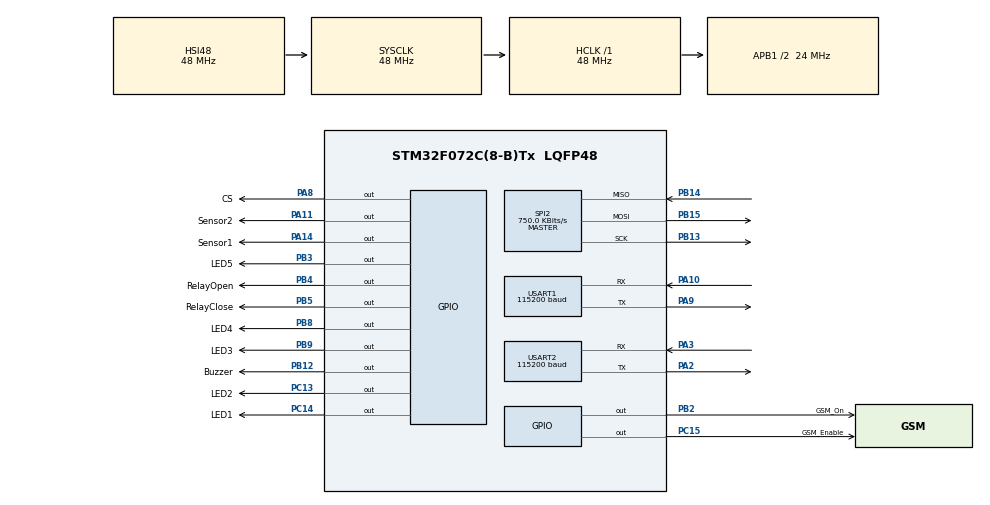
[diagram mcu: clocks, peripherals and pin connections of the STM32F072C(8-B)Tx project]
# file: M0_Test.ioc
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FREERTOS.Tasks01=defaultTask,0,256,StartDefaultTask,Default,NULL,Dynamic,NULL,NULL;myTask02,-3,128,StartTask02,Default,NULL,Dynamic,NULL,NULL
Mcu.Family=STM32F0
Mcu.Name=STM32F072C(8-B)Tx
Mcu.Package=LQFP48
NVIC.USART2_IRQn=true\:3\:0\:false\:false\:true\:true\:true\:true
PA10.Mode=Asynchronous
PA10.Signal=USART1_RX
PA11.GPIO_Label=Sensor2
PA11.Signal=GPIO_Output
PA14.GPIO_Label=Sensor1
PA14.Signal=GPIO_Output
PA2.Mode=Asynchronous
PA2.Signal=USART2_TX
PA3.GPIO_PuPd=GPIO_PULLUP
PA3.Mode=Asynchronous
PA3.Signal=USART2_RX
PA8.GPIO_Label=CS
PA8.Signal=GPIO_Output
PA9.Mode=Asynchronous
PA9.Signal=USART1_TX
PB12.GPIO_Label=Buzzer
PB12.Signal=GPIO_Output
PB13.Mode=Full_Duplex_Master
PB13.Signal=SPI2_SCK
PB14.Mode=Full_Duplex_Master
PB14.Signal=SPI2_MISO
PB15.Mode=Full_Duplex_Master
PB15.Signal=SPI2_MOSI
PB2.GPIO_Label=GSM_On
PB2.Signal=GPIO_Output
PB3.GPIO_Label=LED5
PB3.Signal=GPIO_Output
PB4.GPIO_Label=RelayOpen
PB4.Signal=GPIO_Output
PB5.GPIO_Label=RelayClose
PB5.Signal=GPIO_Output
PB8.GPIO_Label=LED4
PB8.Signal=GPIO_Output
PB9.GPIO_Label=LED3
PB9.Signal=GPIO_Output
PC13.GPIO_Label=LED2
PC13.Signal=GPIO_Output
PC14-OSC32_IN.GPIO_Label=LED1
PC14-OSC32_IN.Signal=GPIO_Output
PC15-OSC32_OUT.GPIO_Label=GSM_Enable
PC15-OSC32_OUT.Signal=GPIO_Output
ProjectManager.HeapSize=0x200
ProjectManager.StackSize=0x400
ProjectManager.TargetToolchain=STM32CubeIDE
RCC.AHBFreq_Value=48000000
RCC.APB1CLKDivider=RCC_HCLK_DIV2
RCC.APB1Freq_Value=24000000
RCC.APB1TimFreq_Value=48000000
RCC.HCLKFreq_Value=48000000
RCC.SYSCLKFreq_VALUE=48000000
RCC.SYSCLKSource=RCC_SYSCLKSOURCE_HSI48
SPI2.BaudRatePrescaler=SPI_BAUDRATEPRESCALER_32
SPI2.CalculateBaudRate=750.0 KBits/s
SPI2.DataSize=SPI_DATASIZE_8BIT
SPI2.Direction=SPI_DIRECTION_2LINES
SPI2.Mode=SPI_MODE_MASTER
SPI2.VirtualType=VM_MASTER
USART1.BaudRate=115200
USART1.VirtualMode-Asynchronous=VM_ASYNC
USART2.BaudRate=115200
USART2.VirtualMode-Asynchronous=VM_ASYNC
VP_FREERTOS_VS_CMSIS_V1.Mode=CMSIS_V1
VP_WWDG_VS_WWDG.Mode=WWDG_Activate
WWDG.Counter=127
WWDG.Prescaler=WWDG_PRESCALER_8
board=custom

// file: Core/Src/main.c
/* USER CODE BEGIN Header */
/**
  ******************************************************************************
  * @file           : main.c
  * @brief          : Main program body
  ******************************************************************************
  * @attention
  *
  * <h2><center>&copy; Copyright (c) 2022 STMicroelectronics.
  * All rights reserved.</center></h2>
  *
  * This software component is licensed by ST under BSD 3-Clause license,
  * the "License"; You may not use this file except in compliance with the
  * License. You may obtain a copy of the License at:
  *                        opensource.org/licenses/BSD-3-Clause
  *
  ******************************************************************************
  */
/* USER CODE END Header */
#include "main.h"
#include "cmsis_os.h"

/* USER CODE BEGIN Includes */
//#include "usbd_cdc_if.h"
/* USER CODE END Includes */

/* USER CODE BEGIN PD */
#define M95_WRITE_EN 	0x06
#define M95_WRITE_DIS 	0x04
#define M95_STATUS 		0x05
#define M95_READ 		0x03
//#define M95_READ 		0x0B
#define M95_WRITE 		0x02
/* USER CODE END PD */

SPI_HandleTypeDef hspi2;

UART_HandleTypeDef huart1;
UART_HandleTypeDef huart2;

WWDG_HandleTypeDef hwwdg;

osThreadId defaultTaskHandle;
osThreadId myTask02Handle;

void SystemClock_Config(void);
static void MX_GPIO_Init(void);
static void MX_SPI2_Init(void);
static void MX_USART1_UART_Init(void);
static void MX_USART2_UART_Init(void);
static void MX_WWDG_Init(void);
void StartDefaultTask(void const * argument);
void StartTask02(void const * argument);

/* USER CODE BEGIN 0 */
char USB_Send[] = "Hello USB";
extern int mqttSend;
/* USER CODE END 0 */

int main(void)
{
  /* USER CODE BEGIN 1 */
	remap();
  /* USER CODE END 1 */

  /* MCU Configuration--------------------------------------------------------*/

  /* Reset of all peripherals, Initializes the Flash interface and the Systick. */
  HAL_Init();

  /* Configure the system clock */
  SystemClock_Config();

  /* Initialize all configured peripherals */
  MX_GPIO_Init();
  MX_SPI2_Init();
  MX_USART1_UART_Init();
  MX_USART2_UART_Init();
  MX_WWDG_Init();
  /* USER CODE BEGIN 2 */
  HAL_GPIO_WritePin(CS_GPIO_Port, CS_Pin,GPIO_PIN_SET);
  //MQTT_Init();
  GSM_Init();
  //Wifi_Init();
  HAL_GPIO_WritePin(LED1_GPIO_Port, LED1_Pin,GPIO_PIN_SET);		//wifi enable
  HAL_GPIO_WritePin(LED4_GPIO_Port, LED4_Pin,GPIO_PIN_SET);
  HAL_GPIO_WritePin(LED5_GPIO_Port, LED5_Pin,GPIO_PIN_SET);

  //HAL_Delay(2000);
  /* USER CODE END 2 */

  /* Create the thread(s) */
  /* definition and creation of defaultTask */
  osThreadDef(defaultTask, StartDefaultTask, osPriorityNormal, 0, 256);
  defaultTaskHandle = osThreadCreate(osThread(defaultTask), NULL);

  /* definition and creation of myTask02 */
  osThreadDef(myTask02, StartTask02, osPriorityIdle, 0, 128);
  myTask02Handle = osThreadCreate(osThread(myTask02), NULL);

  /* Start scheduler */
  osKernelStart();

  /* We should never get here as control is now taken by the scheduler */
  /* Infinite loop */
  while (1)
  {

  }
}

void SystemClock_Config(void)
{
  RCC_OscInitTypeDef RCC_OscInitStruct = {0};
  RCC_ClkInitTypeDef RCC_ClkInitStruct = {0};
  RCC_PeriphCLKInitTypeDef PeriphClkInit = {0};

  /** Initializes the RCC Oscillators according to the specified parameters
  * in the RCC_OscInitTypeDef structure.
  */
  RCC_OscInitStruct.OscillatorType = RCC_OSCILLATORTYPE_HSI48;
  RCC_OscInitStruct.HSI48State = RCC_HSI48_ON;
  RCC_OscInitStruct.PLL.PLLState = RCC_PLL_NONE;
  if (HAL_RCC_OscConfig(&RCC_OscInitStruct) != HAL_OK)
  {
    Error_Handler();
  }
  /** Initializes the CPU, AHB and APB buses clocks
  */
  RCC_ClkInitStruct.ClockType = RCC_CLOCKTYPE_HCLK|RCC_CLOCKTYPE_SYSCLK
                              |RCC_CLOCKTYPE_PCLK1;
  RCC_ClkInitStruct.SYSCLKSource = RCC_SYSCLKSOURCE_HSI48;
  RCC_ClkInitStruct.AHBCLKDivider = RCC_SYSCLK_DIV1;
  RCC_ClkInitStruct.APB1CLKDivider = RCC_HCLK_DIV2;

  if (HAL_RCC_ClockConfig(&RCC_ClkInitStruct, FLASH_LATENCY_1) != HAL_OK)
  {
    Error_Handler();
  }
  PeriphClkInit.PeriphClockSelection = RCC_PERIPHCLK_USART1|RCC_PERIPHCLK_USART2;
  PeriphClkInit.Usart1ClockSelection = RCC_USART1CLKSOURCE_PCLK1;
  PeriphClkInit.Usart2ClockSelection = RCC_USART2CLKSOURCE_PCLK1;
  if (HAL_RCCEx_PeriphCLKConfig(&PeriphClkInit) != HAL_OK)
  {
    Error_Handler();
  }
}

static void MX_SPI2_Init(void)
{

  /* SPI2 parameter configuration*/
  hspi2.Instance = SPI2;
  hspi2.Init.Mode = SPI_MODE_MASTER;
  hspi2.Init.Direction = SPI_DIRECTION_2LINES;
  hspi2.Init.DataSize = SPI_DATASIZE_8BIT;
  hspi2.Init.CLKPolarity = SPI_POLARITY_LOW;
  hspi2.Init.CLKPhase = SPI_PHASE_1EDGE;
  hspi2.Init.NSS = SPI_NSS_SOFT;
  hspi2.Init.BaudRatePrescaler = SPI_BAUDRATEPRESCALER_32;
  hspi2.Init.FirstBit = SPI_FIRSTBIT_MSB;
  hspi2.Init.TIMode = SPI_TIMODE_DISABLE;
  hspi2.Init.CRCCalculation = SPI_CRCCALCULATION_DISABLE;
  hspi2.Init.CRCPolynomial = 7;
  hspi2.Init.CRCLength = SPI_CRC_LENGTH_DATASIZE;
  hspi2.Init.NSSPMode = SPI_NSS_PULSE_ENABLE;
  if (HAL_SPI_Init(&hspi2) != HAL_OK)
  {
    Error_Handler();
  }

}

static void MX_USART1_UART_Init(void)
{

  huart1.Instance = USART1;
  huart1.Init.BaudRate = 115200;
  huart1.Init.WordLength = UART_WORDLENGTH_8B;
  huart1.Init.StopBits = UART_STOPBITS_1;
  huart1.Init.Parity = UART_PARITY_NONE;
  huart1.Init.Mode = UART_MODE_TX_RX;
  huart1.Init.HwFlowCtl = UART_HWCONTROL_NONE;
  huart1.Init.OverSampling = UART_OVERSAMPLING_16;
  huart1.Init.OneBitSampling = UART_ONE_BIT_SAMPLE_DISABLE;
  huart1.AdvancedInit.AdvFeatureInit = UART_ADVFEATURE_NO_INIT;
  if (HAL_UART_Init(&huart1) != HAL_OK)
  {
    Error_Handler();
  }

}

static void MX_USART2_UART_Init(void)
{

  /* USER CODE BEGIN USART2_Init 0 */
	//if (huart->Instance == USART2) GSM_Receive((uint8_t)(uhdata & (uint8_t)uhMask));
	//if (huart->Instance == USART1) Debug_Receive((uint8_t)(uhdata & (uint8_t)uhMask));

  /* USER CODE END USART2_Init 0 */

  huart2.Instance = USART2;
  huart2.Init.BaudRate = 115200;
  huart2.Init.WordLength = UART_WORDLENGTH_8B;
  huart2.Init.StopBits = UART_STOPBITS_1;
  huart2.Init.Parity = UART_PARITY_NONE;
  huart2.Init.Mode = UART_MODE_TX_RX;
  huart2.Init.HwFlowCtl = UART_HWCONTROL_NONE;
  huart2.Init.OverSampling = UART_OVERSAMPLING_16;
  huart2.Init.OneBitSampling = UART_ONE_BIT_SAMPLE_DISABLE;
  huart2.AdvancedInit.AdvFeatureInit = UART_ADVFEATURE_NO_INIT;
  if (HAL_UART_Init(&huart2) != HAL_OK)
  {
    Error_Handler();
  }

}

static void MX_WWDG_Init(void)
{

  hwwdg.Instance = WWDG;
  hwwdg.Init.Prescaler = WWDG_PRESCALER_8;
  hwwdg.Init.Window = 126;
  hwwdg.Init.Counter = 127;
  hwwdg.Init.EWIMode = WWDG_EWI_DISABLE;
  if (HAL_WWDG_Init(&hwwdg) != HAL_OK)
  {
    Error_Handler();
  }

}

static void MX_GPIO_Init(void)
{
  GPIO_InitTypeDef GPIO_InitStruct = {0};

  /* GPIO Ports Clock Enable */
  __HAL_RCC_GPIOC_CLK_ENABLE();
  __HAL_RCC_GPIOA_CLK_ENABLE();
  __HAL_RCC_GPIOB_CLK_ENABLE();

  /*Configure GPIO pin Output Level */
  HAL_GPIO_WritePin(GPIOC, LED2_Pin|LED1_Pin|GSM_Enable_Pin, GPIO_PIN_RESET);

  /*Configure GPIO pin Output Level */
  HAL_GPIO_WritePin(GPIOB, GSM_On_Pin|Buzzer_Pin|LED5_Pin|RelayOpen_Pin
                          |RelayClose_Pin|LED4_Pin|LED3_Pin, GPIO_PIN_RESET);

  /*Configure GPIO pin Output Level */
  HAL_GPIO_WritePin(GPIOA, CS_Pin|Sensor2_Pin|Sensor1_Pin, GPIO_PIN_RESET);

  /*Configure GPIO pins : LED2_Pin LED1_Pin GSM_Enable_Pin */
  GPIO_InitStruct.Pin = LED2_Pin|LED1_Pin|GSM_Enable_Pin;
  GPIO_InitStruct.Mode = GPIO_MODE_OUTPUT_PP;
  GPIO_InitStruct.Pull = GPIO_NOPULL;
  GPIO_InitStruct.Speed = GPIO_SPEED_FREQ_LOW;
  HAL_GPIO_Init(GPIOC, &GPIO_InitStruct);

  /*Configure GPIO pins : GSM_On_Pin Buzzer_Pin LED5_Pin RelayOpen_Pin
                           RelayClose_Pin LED4_Pin LED3_Pin */
  GPIO_InitStruct.Pin = GSM_On_Pin|Buzzer_Pin|LED5_Pin|RelayOpen_Pin
                          |RelayClose_Pin|LED4_Pin|LED3_Pin;
  GPIO_InitStruct.Mode = GPIO_MODE_OUTPUT_PP;
  GPIO_InitStruct.Pull = GPIO_NOPULL;
  GPIO_InitStruct.Speed = GPIO_SPEED_FREQ_LOW;
  HAL_GPIO_Init(GPIOB, &GPIO_InitStruct);

  /*Configure GPIO pins : CS_Pin Sensor2_Pin Sensor1_Pin */
  GPIO_InitStruct.Pin = CS_Pin|Sensor2_Pin|Sensor1_Pin;
  GPIO_InitStruct.Mode = GPIO_MODE_OUTPUT_PP;
  GPIO_InitStruct.Pull = GPIO_NOPULL;
  GPIO_InitStruct.Speed = GPIO_SPEED_FREQ_LOW;
  HAL_GPIO_Init(GPIOA, &GPIO_InitStruct);

}

/* USER CODE BEGIN 4 */
/*void Debug_Send(char* data){
	int size;
	int timeout = 5;
	size = strlen(data);
	HAL_UART_Transmit(&huart1, (uint8_t*)data, size, timeout);
	//HAL_UART_Transmit_IT(&huart1, data, size);
}*/

/*void flashRead(){
	 char flash[150];
	 int address = 0;
	 int size = 10;
	 while (address < 100){
		 memset(flash,0,150);
		 Debug_Send("Test Read flash addres: ");
		 myLongStr(address,flash,10,10);
		 Debug_Send(flash);
		 Debug_Send("\r\n");
		 Flash_Read(address,flash,size);
		 address += size;
		 flash[size] = 0;
		 Debug_Send(flash);
		 Debug_Send("\r\n");
	 }
	 //Flash_Write(80,"2.08",7);
	 //Flash_Write(0,Flash_Version,strlen(Flash_Version)+1);
	 Flash_Write_Bin(30,'D');
	 //M95_Put(30,'D',1);
	 //M95_Busy();
	 //Flash_Write(1000,"test",5);
	 //Flash_Read(30,flash,6);
	 //flash[6] = 0;
	 //address += 10;
	 Debug_Send("Read flash: ");
	 //Debug_Send(flash);
	 Debug_Send("\r\n");

 }*/

void remap(){
	 // Copy interrupt vector table to the RAM.
	 volatile uint32_t *VectorTable = (volatile uint32_t *)0x20000000;
	 uint32_t ui32_VectorIndex = 0;

	 for(ui32_VectorIndex = 0; ui32_VectorIndex < 48; ui32_VectorIndex++)
	 {
		 VectorTable[ui32_VectorIndex] = *(__IO uint32_t*)((uint32_t) 0x8009000 + (ui32_VectorIndex << 2));
	 }

	 __HAL_RCC_AHB_FORCE_RESET();

	 //  Enable SYSCFG peripheral clock
	 __HAL_RCC_SYSCFG_CLK_ENABLE();

	 __HAL_RCC_AHB_RELEASE_RESET();

	 // Remap RAM into 0x0000 0000
	 __HAL_SYSCFG_REMAPMEMORY_SRAM();

	 __enable_irq();
	 Debug_Send("test Vector table remapped\r\n");
}

void flashPut(uint32_t p_addr,char* data, uint32_t size){
	 unsigned char temp[30];
	 Debug_Send("Flash write: ");
	 /*Debug_Send(data);
	 if(data[0] == 0x0a) Debug_Send("a");
	 if(*data == 0x0a) Debug_Send("A");
	 if(data[0] == 0x0d) Debug_Send("d");
	 if(*data == 0x0d) Debug_Send("D");*/
	 Debug_Send(" at: ");
	 myLongStr(p_addr,temp,10,10);
	 Debug_Send(temp);
	 Debug_Send(" , ");
	 myLongStr(size,temp,10,10);
	 Debug_Send(temp);
	 Debug_Send("\r\n");
	 flashBusy();
	 HAL_GPIO_WritePin(CS_GPIO_Port, CS_Pin, GPIO_PIN_RESET);	//set write enable flag
	 temp[0] = M95_WRITE_EN;
	 HAL_SPI_Transmit(&hspi2,temp,1,100);
	 HAL_GPIO_WritePin(CS_GPIO_Port, CS_Pin, GPIO_PIN_SET);
	 HAL_Delay(1);

	 //uint32_t p_addr = 30;

	 HAL_GPIO_WritePin(CS_GPIO_Port, CS_Pin, GPIO_PIN_RESET);	//load address
	 temp[0] = M95_WRITE;
	 temp[1] = (p_addr>>16)&0xff;
	 temp[2] = (p_addr>>8)&0xff;
	 temp[3] = p_addr&0xff;

	 HAL_SPI_Transmit(&hspi2,temp,4,100);						//transmit address

	 temp[0] = 68;
	 HAL_SPI_Transmit(&hspi2,data,size,100);						//transmit data
	 HAL_GPIO_WritePin(CS_GPIO_Port, CS_Pin, GPIO_PIN_SET);

	 flashBusy();

}

void flashWrite( unsigned long p_addr,const char *p_buffer,unsigned short p_size){
	//unsigned short m95_tmp;
	unsigned short m95_page_size;
	unsigned short m95_size;
	unsigned short m95_write_size;
	//unsigned char test[10];

	//M95_Busy();

	//Flash_CS_Low();

	//myTRACE_Print(p_buffer);
	//myTRACE_Print(" p_buffer\n");
	//flash_struct.isBusy = 1;
	m95_size=p_size;
	//m95_tmp=p_addr/256;
	//m95_page_size=256-(p_addr-(m95_tmp*256));

	m95_page_size =256 - ( p_addr % 256);
	while(m95_size){
		if(m95_size>m95_page_size)
			m95_write_size=m95_page_size;
		else
			m95_write_size=m95_size;
		flashPut(p_addr,p_buffer,m95_write_size);
		m95_size-=m95_write_size;
		p_buffer+=m95_write_size;
		p_addr+=m95_write_size;
		m95_page_size=256;
	}
	//flash_struct.isBusy = 0;
	//Flash_CS_Hi();

}

void flashRead(uint32_t p_addr, char* data, uint32_t size){
	 char temp[20];
	 /*Debug_Send("Flash read at: ");
	 myLongStr(p_addr,temp,10,10);
	 Debug_Send(temp);
	 Debug_Send("\r\n");*/

	flashBusy();
	HAL_GPIO_WritePin(CS_GPIO_Port, CS_Pin, GPIO_PIN_RESET);
	//uint32_t p_addr = 30;
	 temp[0] = M95_READ;
	 temp[1] = (p_addr>>16)&0xff;
	 temp[2] = (p_addr>>8)&0xff;
	 temp[3] = p_addr&0xff;

	HAL_SPI_Transmit(&hspi2,temp,4,100);

	HAL_SPI_Receive(&hspi2,data,size,100);

	HAL_GPIO_WritePin(CS_GPIO_Port, CS_Pin, GPIO_PIN_SET);
	//temp[3] = 0;
	//Debug_Send(temp);
	//Debug_Send("\r\n");

	 /*Debug_Send("Flash read: ");
	 Debug_Send(data);
	 Debug_Send(" at: ");
	 myLongStr(p_addr,temp,10,10);
	 Debug_Send(temp);
	 Debug_Send(" , ");
	 myLongStr(size,temp,10,10);
	 Debug_Send(temp);
	 Debug_Send("\r\n");*/
}

void flashBusy(){
	 char temp[20];
	 temp[0] = M95_STATUS;
	HAL_GPIO_WritePin(CS_GPIO_Port, CS_Pin, GPIO_PIN_RESET);

	HAL_SPI_Transmit(&hspi2,temp,1,100);
	//SPI_Write(M95_STATUS);
	HAL_SPI_Receive(&hspi2,temp,1,100);
	//m95_status=SPI_Write(0);
	while(temp[0]&0x01){
		//SET_ROLL();
		//ROLL_UP();
		HAL_SPI_Receive(&hspi2,temp,1,100);
		//DWT_Delay_us(20);
		//m95_status=SPI_Write(0);
		//if(Boot_Bit)
		//	HAL_IWDG_Refresh(&hiwdg);						// RELOAD WDT WHILE FLASH IS BUSY
	}
	HAL_GPIO_WritePin(CS_GPIO_Port, CS_Pin, GPIO_PIN_SET);
}
/* USER CODE END 4 */

void StartDefaultTask(void const * argument)
{
  /* USER CODE BEGIN 5 */
  /* Infinite loop */
  for(;;)
  {
    osDelay(1000);
    //HAL_GPIO_TogglePin(LED1_GPIO_Port, LED1_Pin);
    //Debug_Send("M0 test running\r\n");
	/*if(mqttSend == 1){
		mqttSend = 0;
		Debug_Send("Publish func returnd\r\n");
	}*/
    GSM_Service();
    //HAL_GPIO_TogglePin(Buzzer_GPIO_Port, Buzzer_Pin);
    //HAL_GPIO_TogglePin(Sensor1_GPIO_Port, Sensor1_Pin);
    //HAL_GPIO_TogglePin(Sensor2_GPIO_Port, Sensor2_Pin);
    //CDC_Transmit_FS((uint8_t*) USB_Send, strlen(USB_Send));
    //Debug_Send("M0 test running\r\n");
    //GSM_Send("AT\r\n");
    //Wifi_Service();
    //flashRead();
  }
  /* USER CODE END 5 */
}

void StartTask02(void const * argument)
{
  /* USER CODE BEGIN StartTask02 */
  /* Infinite loop */
  for(;;)
  {
    osDelay(50);
    recData();
    hwwdg.Init.Counter = 127;
    HAL_WWDG_Refresh(&hwwdg);
    //WifirecData();
  }
  /* USER CODE END StartTask02 */
}

void Error_Handler(void)
{
  __disable_irq();
  while (1)
  {
  }
}

/************************ (C) COPYRIGHT STMicroelectronics *****END OF FILE****/
